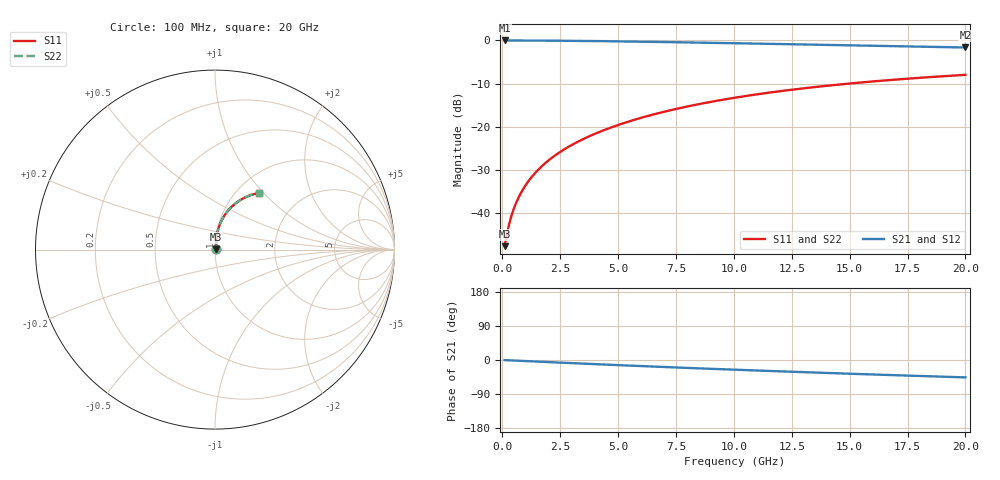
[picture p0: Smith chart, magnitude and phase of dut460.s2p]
! Touchstone file exported from HFSS 2024.1.0
!  File:  C:/UserFiles/LocalFiles/RDL_TSV_Batchsim/temp_RDL_bottom_460_1779685471.aedt
!  Generated:  01:07:33 PM May 25, 2026
!  Design:  RDL_bottom
!  Project:  temp_RDL_bottom_460_1779685471
!  Setup:  Setup1
!  Solution:  Sweep
! Variables:
!  dtsv = 10.80580581um
!  hbump = 3um
!  htsv = 78.68um
!  ldown = 652.75um
!  lrdl = 100um
!  p = 40
!  p1 = 50.96um
!  rhole = 1um
!  t = 450um
!  tdown = 3.14um
!  trdl = 3.915915916um
!  wdown = 22.5um
!  wrdl = 20um
# GHz S MA R 50.000000
! Terminal data exported
! Port[1] = RDL1_T1
! Port[2] = RDL1_T2
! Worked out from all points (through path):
!   200 points, 100 MHz to 20 GHz, reference 50 ohm
!   highest |S21| = -0.03 dB at 100 MHz (marker M1); lowest = -1.7 dB at 20 GHz (marker M2)
!   group delay of S21, straight-line fit = 6.33 ps
!   lowest |S11| = -47.6 dB at 100 MHz (marker M3), VSWR 1.01, Z = 50.3 + j0.226 ohm
!   |S11| at or under -10 dB: start of sweep to 15 GHz
!   |S22| runs from -47.6 to -8.0 dB; largest |S21 - S12| = 2.8e-15
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0.1  0.004145 32.7  0.9965 -0.3  0.9965 -0.3  0.004145 32.7
! Gamma 0 0 0 0
! Port Impedance 50 0 50 0
0.2  0.005722 50.5  0.9963 -0.6  0.9963 -0.6  0.005722 50.5
0.3  0.007542 59.5  0.9961 -0.9  0.9961 -0.9  0.007541 59.5
0.4  0.009413 64.9  0.9959 -1.1  0.9959 -1.1  0.009413 64.9
0.5  0.0113 68.5  0.9957 -1.4  0.9957 -1.4  0.0113 68.5
0.6  0.01319 71.1  0.9954 -1.7  0.9954 -1.7  0.01319 71.1
0.8  0.01702 74.8  0.995 -2.3  0.995 -2.3  0.01702 74.8
1.1  0.02285 78.0  0.9943 -3.1  0.9943 -3.1  0.02285 78.1
1.3  0.02679 79.4  0.9938 -3.6  0.9938 -3.6  0.02679 79.4
1.6  0.03277 80.8  0.9929 -4.5  0.9929 -4.5  0.03277 80.8
2.1  0.04288 82.1  0.991 -5.8  0.991 -5.8  0.04288 82.2
2.7  0.05524 82.8  0.9882 -7.5  0.9882 -7.5  0.05524 82.8
3.5  0.07209 82.9  0.9835 -9.6  0.9835 -9.6  0.07209 82.9
4.2  0.08714 82.5  0.9788 -11.5  0.9788 -11.5  0.08715 82.5
5  0.1047 81.7  0.9727 -13.5  0.9727 -13.5  0.1047 81.7
6.8  0.1448 79.0  0.9572 -18.0  0.9572 -18.0  0.1448 79.0
8.4  0.1806 76.0  0.942 -21.9  0.942 -21.9  0.1806 76.0
10.1  0.2179 72.5  0.9252 -25.8  0.9252 -25.8  0.2179 72.6
11.7  0.2517 69.1  0.909 -29.3  0.909 -29.3  0.2518 69.2
13.4  0.286 65.5  0.8917 -32.9  0.8917 -32.9  0.2861 65.6
16.7  0.3464 58.7  0.8584 -39.6  0.8584 -39.6  0.3466 58.8
20  0.3984 52.3  0.826 -45.9  0.826 -45.9  0.3986 52.4
